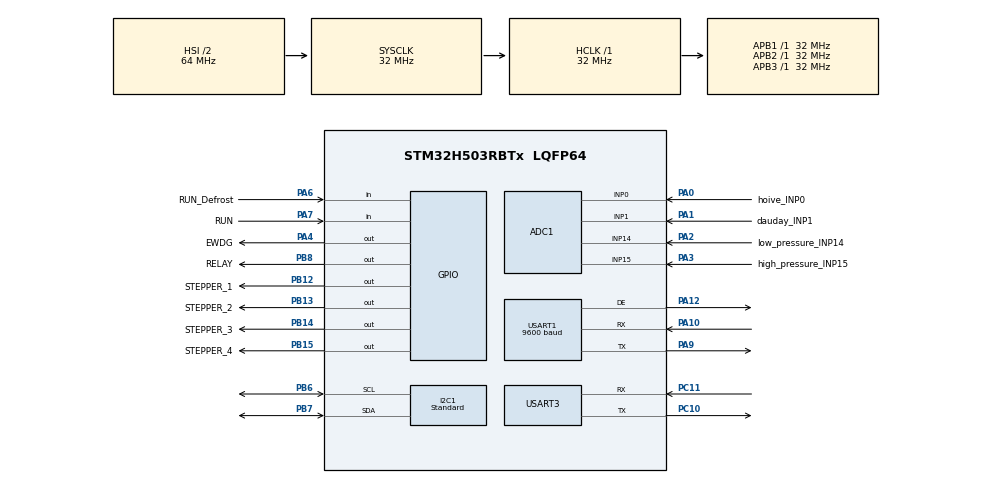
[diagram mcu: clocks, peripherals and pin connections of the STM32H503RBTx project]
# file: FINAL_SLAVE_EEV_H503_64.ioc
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ADC1.Channel-0\#ChannelRegularConversion=ADC_CHANNEL_VREFINT
ADC1.Channel-1\#ChannelRegularConversion=ADC_CHANNEL_0
ADC1.Channel-2\#ChannelRegularConversion=ADC_CHANNEL_1
ADC1.Channel-3\#ChannelRegularConversion=ADC_CHANNEL_14
ADC1.Channel-4\#ChannelRegularConversion=ADC_CHANNEL_15
ADC1.ClockPrescaler=ADC_CLOCK_ASYNC_DIV1
ADC1.MonitoredBy-0\#ChannelRegularConversion=__NULL
ADC1.MonitoredBy-1\#ChannelRegularConversion=__NULL
ADC1.MonitoredBy-2\#ChannelRegularConversion=__NULL
ADC1.MonitoredBy-3\#ChannelRegularConversion=__NULL
ADC1.MonitoredBy-4\#ChannelRegularConversion=__NULL
ADC1.NbrOfConversion=5
ADC1.NbrOfConversionFlag=1
ADC1.OffsetNumber-0\#ChannelRegularConversion=ADC_OFFSET_NONE
ADC1.OffsetNumber-1\#ChannelRegularConversion=ADC_OFFSET_NONE
ADC1.OffsetNumber-2\#ChannelRegularConversion=ADC_OFFSET_NONE
ADC1.OffsetNumber-3\#ChannelRegularConversion=ADC_OFFSET_NONE
ADC1.OffsetNumber-4\#ChannelRegularConversion=ADC_OFFSET_NONE
ADC1.OversamplingMode=ENABLE
ADC1.Rank-0\#ChannelRegularConversion=1
ADC1.Rank-1\#ChannelRegularConversion=2
ADC1.Rank-2\#ChannelRegularConversion=3
ADC1.Rank-3\#ChannelRegularConversion=4
ADC1.Rank-4\#ChannelRegularConversion=5
ADC1.Ratio=ADC_OVERSAMPLING_RATIO_8
ADC1.RightBitShift=ADC_RIGHTBITSHIFT_3
ADC1.SamplingTime-0\#ChannelRegularConversion=ADC_SAMPLETIME_247CYCLES_5
ADC1.SamplingTime-1\#ChannelRegularConversion=ADC_SAMPLETIME_247CYCLES_5
ADC1.SamplingTime-2\#ChannelRegularConversion=ADC_SAMPLETIME_247CYCLES_5
ADC1.SamplingTime-3\#ChannelRegularConversion=ADC_SAMPLETIME_247CYCLES_5
ADC1.SamplingTime-4\#ChannelRegularConversion=ADC_SAMPLETIME_247CYCLES_5
ADC1.master=1
BOOTPATH.BootPathName=LEGACY
BOOTPATH.UserSelectedBootPath=LEGACY
GPDMA1.DESTDATAWIDTH_GPDMACH2=DMA_DEST_DATAWIDTH_HALFWORD
GPDMA1.DESTINC_GPDMACH0=DMA_DINC_INCREMENTED
GPDMA1.DESTINC_GPDMACH2=DMA_DINC_INCREMENTED
GPDMA1.DIRECTION_GPDMACH1=DMA_MEMORY_TO_PERIPH
GPDMA1.IPHANDLE_GPDMACH0-SIMPLEREQUEST_GPDMACH0=__NULL
GPDMA1.IPHANDLE_GPDMACH1-SIMPLEREQUEST_GPDMACH1=__NULL
GPDMA1.IPHANDLE_GPDMACH2-SIMPLEREQUEST_GPDMACH2=__NULL
GPDMA1.REQUEST_GPDMACH0=GPDMA1_REQUEST_USART1_RX
GPDMA1.REQUEST_GPDMACH1=GPDMA1_REQUEST_USART1_TX
GPDMA1.REQUEST_GPDMACH2=GPDMA1_REQUEST_ADC1
GPDMA1.SRCDATAWIDTH_GPDMACH2=DMA_SRC_DATAWIDTH_HALFWORD
GPDMA1.SRCINC_GPDMACH1=DMA_SINC_INCREMENTED
GPDMA1.TRANSFERALLOCATEDPORTDEST_GPDMACH0=DMA_DEST_ALLOCATED_PORT1
GPDMA1.TRANSFERALLOCATEDPORTDEST_GPDMACH1=DMA_DEST_ALLOCATED_PORT1
GPDMA1.TRANSFERALLOCATEDPORTDEST_GPDMACH2=DMA_DEST_ALLOCATED_PORT1
I2C1.I2C_Speed_Mode=I2C_Standard
I2C1.Timing=0x00707CBB
IWDG.Prescaler=IWDG_PRESCALER_64
IWDG.Reload=2999
IWDG.Window=0
Mcu.Family=STM32H5
Mcu.Name=STM32H503RBTx
Mcu.Package=LQFP64
NVIC.GPDMA1_Channel0_IRQn=true\:0\:0\:false\:false\:true\:false\:true\:true
NVIC.GPDMA1_Channel1_IRQn=true\:0\:0\:false\:false\:true\:false\:true\:true
NVIC.GPDMA1_Channel2_IRQn=true\:0\:0\:false\:false\:true\:false\:true\:true
NVIC.PriorityGroup=NVIC_PRIORITYGROUP_4
NVIC.TIM2_IRQn=true\:0\:0\:false\:false\:true\:true\:true\:true
NVIC.USART1_IRQn=true\:1\:0\:true\:false\:true\:true\:true\:true
PA0.GPIO_Label=hoive_INP0
PA0.Signal=ADCx_INP0
PA1.GPIO_Label=dauday_INP1
PA1.Signal=ADCx_INP1
PA10.Mode=Asynchronous
PA10.Signal=USART1_RX
PA12.Mode=Hardware Flow Control (RS485)
PA12.Signal=USART1_DE
PA2.GPIO_Label=low_pressure_INP14
PA2.Signal=ADCx_INP14
PA3.GPIO_Label=high_pressure_INP15
PA3.Signal=ADCx_INP15
PA4.GPIO_Label=EWDG
PA4.Signal=GPIO_Output
PA6.GPIO_Label=RUN_Defrost
PA6.Signal=GPIO_Input
PA7.GPIO_Label=RUN
PA7.Signal=GPIO_Input
PA9.Mode=Asynchronous
PA9.Signal=USART1_TX
PB12.GPIO_Label=STEPPER_1
PB12.PinState=GPIO_PIN_SET
PB12.Signal=GPIO_Output
PB13.GPIO_Label=STEPPER_2
PB13.PinState=GPIO_PIN_SET
PB13.Signal=GPIO_Output
PB14.GPIO_Label=STEPPER_3
PB14.PinState=GPIO_PIN_SET
PB14.Signal=GPIO_Output
PB15.GPIO_Label=STEPPER_4
PB15.PinState=GPIO_PIN_SET
PB15.Signal=GPIO_Output
PB6.Mode=I2C
PB6.Signal=I2C1_SCL
PB7.Mode=I2C
PB7.Signal=I2C1_SDA
PB8.GPIO_Label=RELAY
PB8.PinState=GPIO_PIN_SET
PB8.Signal=GPIO_Output
PC10.Mode=Asynchronous
PC10.Signal=USART3_TX
PC11.Mode=Asynchronous
PC11.Signal=USART3_RX
ProjectManager.HeapSize=0x200
ProjectManager.StackSize=0x400
ProjectManager.TargetToolchain=STM32CubeIDE
RCC.ADCFreq_Value=32000000
RCC.AHBFreq_Value=32000000
RCC.APB1Freq_Value=32000000
RCC.APB1TimFreq_Value=32000000
RCC.APB2Freq_Value=32000000
RCC.APB2TimFreq_Value=32000000
RCC.APB3Freq_Value=32000000
RCC.CSI_VALUE=4000000
RCC.CortexFreq_Value=32000000
RCC.EPOD_VALUE=4000000
RCC.HCLKFreq_Value=32000000
RCC.HSE_VALUE=25000000
RCC.HSI48_VALUE=48000000
RCC.HSI_VALUE=64000000
RCC.LSE_VALUE=32768
RCC.LSIRC_VALUE=32000
RCC.SYSCLKFreq_VALUE=32000000
RCC.USBFreq_Value=48000000
RCC.VCOOutputFreq_Value=516000000
SH.ADCx_INP0.0=ADC1_INP0,IN0-Single-Ended
SH.ADCx_INP1.0=ADC1_INP1,IN1-Single-Ended
SH.ADCx_INP14.0=ADC1_INP14,IN14-Single-Ended
SH.ADCx_INP15.0=ADC1_INP15,IN15-Single-Ended
TIM2.PeriodNoDither=1279
TIM2.Prescaler=999
USART1.BaudRate=9600
USART1.VirtualMode-Asynchronous=VM_ASYNC
USART1.VirtualMode-Hardware\ Flow\ Control\ (RS485)=VM_ASYNC
USART3.VirtualMode-Asynchronous=VM_ASYNC
VP_ADC1_Vref_Input.Mode=IN-Vrefint
VP_BOOTPATH_VS_BOOTPATH.Mode=BP_Activate
VP_CORTEX_M33_NS_VS_Hclk.Mode=Hclk_Mode
VP_GPDMA1_VS_GPDMACH0.Mode=SIMPLEREQUEST_GPDMACH0
VP_GPDMA1_VS_GPDMACH1.Mode=SIMPLEREQUEST_GPDMACH1
VP_GPDMA1_VS_GPDMACH2.Mode=SIMPLEREQUEST_GPDMACH2
VP_IWDG_VS_IWDG.Mode=IWDG_Activate
VP_MEMORYMAP_VS_MEMORYMAP.Mode=CurAppReg
VP_PWR_VS_LPOM.Mode=PowerOptimisation
VP_PWR_VS_SECSignals.Mode=Security/Privilege
VP_TIM2_VS_ClockSourceINT.Mode=Internal
board=custom

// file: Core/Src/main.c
/* USER CODE BEGIN Header */
/**
  ******************************************************************************
  * @file           : main.c
  * @brief          : Main program body
  ******************************************************************************
  * @attention
  *
  * Copyright (c) 2025 STMicroelectronics.
  * All rights reserved.
  *
  * This software is licensed under terms that can be found in the LICENSE file
  * in the root directory of this software component.
  * If no LICENSE file comes with this software, it is provided AS-IS.
  *
  ******************************************************************************
  */
/* USER CODE END Header */
#include "main.h"

/* USER CODE BEGIN Includes */
#include "stdio.h"
#include "stdarg.h"
#include "eeprom_final.h"
#include "Modbus_Slave_Final.h"
#include "Input_parameters.h"
#include "pid_final.h"
#include "stepper_v2.h"
#include "R507_temp_pressure.h"
/* USER CODE END Includes */

ADC_HandleTypeDef hadc1;
DMA_HandleTypeDef handle_GPDMA1_Channel2;

I2C_HandleTypeDef hi2c1;

IWDG_HandleTypeDef hiwdg;

TIM_HandleTypeDef htim2;

UART_HandleTypeDef huart1;
UART_HandleTypeDef huart3;
DMA_HandleTypeDef handle_GPDMA1_Channel1;
DMA_HandleTypeDef handle_GPDMA1_Channel0;

/* USER CODE BEGIN PV */
ModbusHandle modbus_slave;
EEPROM_Handle_t hEEPROM_final;
PID_TypeDef pid;
Stepper motor;
/* USER CODE END PV */

void SystemClock_Config(void);
static void MX_GPIO_Init(void);
static void MX_GPDMA1_Init(void);
static void MX_USART1_UART_Init(void);
static void MX_ADC1_Init(void);
static void MX_I2C1_Init(void);
static void MX_IWDG_Init(void);
static void MX_USART3_UART_Init(void);
static void MX_TIM2_Init(void);

/* USER CODE BEGIN 0 */

// Biến theo dõi tình trạng hoạt động của van tiết lưu
volatile int16_t step_position = 0;
volatile float percent_step = 0;
volatile uint8_t state_motor_step;
volatile uint32_t last_time_step;

// Biến tính toán PID cho số bước điều khiển van tiết lưu
volatile uint8_t count = 0;
volatile float output_pid = 0.0f;
volatile int16_t stepp_count = 0;
#define BUFFER_SIZE 64
volatile int16_t stepp_buffer[BUFFER_SIZE];  // Mảng lưu trữ dữ liệu
volatile uint8_t buffer_index = 0;           // Chỉ mục cho mảng

/*================================================ Hàm Log dữ liệu hoạt động của chương trình =======================================*/
void printLOGDATA(const char *fmt, ...) {
    char temp[128];
    va_list args;
    va_start(args, fmt);
    int len = vsnprintf(temp, sizeof(temp), fmt, args);
    va_end(args);

    if (len > 0) {
        // Đảm bảo độ dài không vượt quá giới hạn
        if (len > sizeof(temp)) len = sizeof(temp);
        HAL_UART_Transmit(&huart3, (uint8_t *)temp, len, 60);
    }
}
void I2C1_Reinit(void){
	MX_I2C1_Init();
}
/*================================================ Hàm Log dữ liệu hoạt động của chương trình =======================================*/

/*================================================ Hàm tính toán độ quá nhiệt =======================================*/
volatile float Saturation_temperature;
volatile float delta_temperatute;
void superheat_value(){
	Saturation_temperature = R507_GetTemperature(pressure_sensors.low_pressure_sensor);
	delta_temperatute = temperature_sensors.hoi_ve - Saturation_temperature;
}
/*================================================ Hàm tính toán độ quá nhiệt =======================================*/

/*================================================ Hàm tính toán để quyết định số bước điều khiển van tiết lưu =======================================*/
static int16_t find_max_value() {
	    if (BUFFER_SIZE <= 0) return 0;
	    int16_t max_abs_value = stepp_buffer[0];
	    int16_t abs_max = max_abs_value < 0 ? -max_abs_value : max_abs_value;
	        uint8_t i = 1;
	        for (; i + 3 < BUFFER_SIZE; i += 4) {
	            // Xử lý 4 phần tử mỗi lần
	            int16_t current0 = stepp_buffer[i];
	            int16_t abs0 = current0 < 0 ? -current0 : current0;
	            int update0 = (abs0 > abs_max) || (abs0 == abs_max && current0 > max_abs_value);
	            max_abs_value = update0 ? current0 : max_abs_value;
	            abs_max = update0 ? abs0 : abs_max;

	            int16_t current1 = stepp_buffer[i + 1];
	            int16_t abs1 = current1 < 0 ? -current1 : current1;
	            int update1 = (abs1 > abs_max) || (abs1 == abs_max && current1 > max_abs_value);
	            max_abs_value = update1 ? current1 : max_abs_value;
	            abs_max = update1 ? abs1 : abs_max;

	            int16_t current2 = stepp_buffer[i + 2];
	            int16_t abs2 = current2 < 0 ? -current2 : current2;
	            int update2 = (abs2 > abs_max) || (abs2 == abs_max && current2 > max_abs_value);
	            max_abs_value = update2 ? current2 : max_abs_value;
	            abs_max = update2 ? abs2 : abs_max;

	            int16_t current3 = stepp_buffer[i + 3];
	            int16_t abs3 = current3 < 0 ? -current3 : current3;
	            int update3 = (abs3 > abs_max) || (abs3 == abs_max && current3 > max_abs_value);
	            max_abs_value = update3 ? current3 : max_abs_value;
	            abs_max = update3 ? abs3 : abs_max;
	        }
	        return max_abs_value;
}
void control_stepper(){
	uint32_t current_time = HAL_GetTick();
	float error = fabsf(pid.setpoint - delta_temperatute);
	static const float k = 0.6f;
	static const uint32_t time_min = 500, time_max = 10000;
	uint32_t delay_time = time_min + (uint32_t)((time_max - time_min) / (1.0f + k * error));
	if(((uint32_t)(current_time - last_time_step) >= delay_time) && Stepper_IsMoving(&motor) == 0){
		int16_t output_final = find_max_value();
		Stepper_Move(&motor, output_final);
		volatile int16_t *ptr = stepp_buffer;
		for (int i = 0; i < BUFFER_SIZE; i += 8) {
		    *ptr++ = 0; *ptr++ = 0; *ptr++ = 0; *ptr++ = 0;
		    *ptr++ = 0; *ptr++ = 0; *ptr++ = 0; *ptr++ = 0;
		}
	}
}
/*================================================ Hàm tính toán để quyết định số bước điều khiển van tiết lưu =======================================*/

/*================================================ Hàm tính toán để quyết định thay đổi superheat setpoint =======================================*/
void convert_setpoint(){
    static const struct {
        float pressure_threshold;
        float target_temp_diff;
    } lookup_table[] = {
//        { 23.0f, 5.0f },
//        { 20.0f, 7.0f },
//        { 17.0f, 9.0f },
//        { 15.0f, 11.0f},
//        { 0.0f,  13.0f}
        { 23.0f, 3.0f},
        { 20.0f, 5.0f},
        { 17.0f, 7.0f},
        { 15.0f, 9.0f},
        { 0.0f,  11.0f}
    };
    static float last_setpoint = -1;  // Lưu giá trị cũ
    float new_setpoint = pid.setpoint;
    static uint8_t waiting = 0;
    static uint32_t change_time = 0;
    GPIO_PinState state_pin_relay = HAL_GPIO_ReadPin(RELAY_GPIO_Port, RELAY_Pin);
    static uint8_t last_state = 1;
    static uint8_t is_waiting = 0;
    static uint32_t time_changed = 0;
    // Lấy giá trị áp suất
    float high_pressure = pressure_sensors.high_pressure_sensor;

    if(last_state == 0 && state_pin_relay == 1){
    	time_changed = HAL_GetTick();
    	is_waiting = 1;
    }
    last_state = state_pin_relay;

     // Duyệt bảng để tìm giá trị TARGET_TEMP_DIFF phù hợp
    if(state_pin_relay == 1){
    	 uint32_t current_time = HAL_GetTick();
    	 if(!is_waiting || ((uint32_t)(current_time - time_changed) >= 16000)){
             is_waiting = 0;
			 for (int i = 0; i < sizeof(lookup_table) / sizeof(lookup_table[0]); i++) {
				 if (high_pressure >= lookup_table[i].pressure_threshold) {
						 new_setpoint = lookup_table[i].target_temp_diff;
						 break;  // Thoát kh�?i vòng lặp sau khi tìm thấy ngưỡng phù hợp
				 }
			 }
		}
    }
     if(new_setpoint != last_setpoint){
    	 if(!waiting){
    		 change_time = HAL_GetTick();
    		 waiting = 1;
    	 }
    	 uint32_t curent_time_2 = HAL_GetTick();
    	 if((uint32_t)(curent_time_2 - change_time) >= 8000){
    		 pid.setpoint = new_setpoint;
    		 last_setpoint = new_setpoint;
    		 waiting = 0;
    	 }
     }else{
    	 waiting = 0;
     }
}
/*================================================ Hàm tính toán để quyết định thay đổi superheat setpoint =======================================*/

/*================================================ Hàm chính điều khiển van tiết lưu =======================================*/
// �?ịnh nghĩa các trạng thái
typedef enum {
    STATE_INIT,         // Trạng thái khởi tạo ban đầu
    STATE_CLOSING,      // �?óng van (500 bước)
    STATE_OPENING,      // Mở van (200 bước)
    STATE_CONTROL_EEV,      // Ch�? 15s
    STATE_IDLE_EEV
} SystemState;
// Biến toàn cục
SystemState current_state_eev = STATE_INIT;
uint32_t timer = 0;
uint8_t init_done = 0;      // C�? đánh dấu đã hoàn thành khởi tạo
void control_EEV(){
	static uint8_t check_run_defrost = 0;
//	static GPIO_PinState pin_state_run = GPIO_PIN_RESET;
//	static GPIO_PinState pin_state_run_defrost = GPIO_PIN_RESET;
	GPIO_PinState pin_state_run = HAL_GPIO_ReadPin(RUN_GPIO_Port, RUN_Pin);
	GPIO_PinState pin_state_run_defrost = HAL_GPIO_ReadPin(RUN_Defrost_GPIO_Port, RUN_Defrost_Pin);
//	if(pin_state_run_check == GPIO_PIN_SET || pin_state_run_defrost_check == GPIO_PIN_SET){
//		if((uint32_t)(HAL_GetTick() - ))
//	}

	switch(pin_state_run_defrost){
	case GPIO_PIN_SET:
		if(check_run_defrost == 0 && !Stepper_IsMoving(&motor)){
			check_run_defrost = 1;
//        	step_position = 0;
//			percent_step = 0.0f;
//			Stepper_Move(&motor, -500);
			step_position = (step_position - 80 > 0) ? step_position - 80 : 0;
        	percent_step = (step_position/500.0f)*100.0f;
            Stepper_Move(&motor, -(500-step_position));
            current_state_eev = STATE_OPENING;
		}
		break;
	case GPIO_PIN_RESET:
		check_run_defrost = 0;
		   // Xử lý theo trạng thái hiện tại
		    switch(current_state_eev) {
		        case STATE_INIT:
		            // Luôn bắt đầu bằng việc đóng 500 bước khi khởi tạo
		            if(!Stepper_IsMoving(&motor)) {
		            	step_position = 500;
		            	percent_step = 100.0f;
		                Stepper_Move(&motor, 500);
//		            	step_position = 0;
//		            	percent_step = 0.0f;
//		                Stepper_Move(&motor, -500);
		                current_state_eev = STATE_CLOSING;
		                init_done = 0;  // �?ánh dấu chưa hoàn thành khởi tạo
		            }
		            break;

		        case STATE_CLOSING:
		            if(!Stepper_IsMoving(&motor)) {
		                if(!init_done) {
		                    // Nếu đây là lần đóng đầu tiên (khởi tạo)
		                    init_done = 1;
		                    // Nếu chân input đang ở mức cao, chuyển sang mở
		                    if(pin_state_run == GPIO_PIN_SET) {
		                        Stepper_Move(&motor, -250);
		                        current_state_eev = STATE_OPENING;
		                    } else {
		                    	current_state_eev = STATE_IDLE_EEV;  // Ch�? mức cao
		                    }
		                } else {
		                    // Nếu đây là lần đóng trong quá trình hoạt động bình thư�?ng
		                	current_state_eev = STATE_IDLE_EEV;
		                }
		            }
		            break;

		        case STATE_IDLE_EEV:
		        	if(!Stepper_IsMoving(&motor)){
		        		if(pin_state_run == GPIO_PIN_SET){
		        		    Stepper_Move(&motor, -250);
		        		    current_state_eev = STATE_OPENING;
		        		}
		        	}
		            break;

		        case STATE_OPENING:
		            if(!Stepper_IsMoving(&motor)) {
		                // �?ã mở xong, bắt đầu ch�? 15s
		                timer = HAL_GetTick();
		                current_state_eev = STATE_CONTROL_EEV;
		            }
		            break;

		        case STATE_CONTROL_EEV:
		            if(HAL_GetTick() - timer >= 8000) {
		                control_stepper();
		            }
		            // Nếu trong quá trình ch�? mà chân input chuyển thành mức thấp
		            if(pin_state_run == GPIO_PIN_RESET) {
		            	step_position = (step_position + 80 < 500) ? step_position + 80 : 500;
		            	percent_step = (step_position/500.0f)*100.0f;
		                Stepper_Move(&motor, step_position);
		                current_state_eev = STATE_CLOSING;
		            }
		            break;
		    }
	  break;
	}
}
/*================================================ Hàm chính điều khiển van tiết lưu =======================================*/

/*================================================ Hàm điều khiển dịch phụ làm mát đầu đẩy =======================================*/
int16_t nhiet_do_bat_lam_mat = 85;
int16_t nhiet_do_tat_lam_mat = 75;
void lam_mat_dau_day(){
	if(temperature_sensors.dau_day >= (float)(nhiet_do_bat_lam_mat)){
		HAL_GPIO_WritePin(RELAY_GPIO_Port, RELAY_Pin, GPIO_PIN_RESET);
	}else if(temperature_sensors.dau_day <= (float)(nhiet_do_tat_lam_mat)){
		HAL_GPIO_WritePin(RELAY_GPIO_Port, RELAY_Pin, GPIO_PIN_SET);
	}
}
/*================================================ Hàm điều khiển dịch phụ làm mát đầu đẩy =======================================*/

void EWDG_Refresh(){
	HAL_GPIO_TogglePin(EWDG_GPIO_Port, EWDG_Pin);
}

/*================================================ Hàm xử lý dữ liệu giao tiếp ngoại vi =======================================*/
void modbus_communication(){
	modbus_slave.holdingRegs[0] = (uint16_t)(pressure_sensors.high_pressure_sensor*100.0f);
	modbus_slave.holdingRegs[1] = (uint16_t)(pressure_sensors.low_pressure_sensor*100.0f);
	modbus_slave.holdingRegs[2] = (int16_t)(temperature_sensors.dau_day*10.0f);
	modbus_slave.holdingRegs[3] = (int16_t)(temperature_sensors.hoi_ve*10.0f);
	modbus_slave.holdingRegs[4] = (int16_t)(Saturation_temperature*10.0f);
	modbus_slave.holdingRegs[5] = (int16_t)(delta_temperatute*10.0f);
	modbus_slave.holdingRegs[6] = (uint16_t)(pid.setpoint*10.0f);
	modbus_slave.holdingRegs[7] = (uint16_t)(percent_step*10.0f);
	modbus_slave.holdingRegs[8] = (uint16_t)(current_state_eev);
	modbus_slave.holdingRegs[9] = (uint16_t)(vref*100.0f);
//	modbus_slave.holdingRegs[8] = (uint16_t)(HAL_GPIO_ReadPin(RUN_GPIO_Port, RUN_Pin));
//	modbus_slave.holdingRegs[9] = (uint16_t)(HAL_GPIO_ReadPin(RUN_Defrost_GPIO_Port, RUN_Defrost_Pin));
}

typedef struct {
    int16_t* value_ptr;     // Con trỏ trực tiếp đến biến int16_t trong RAM
    uint16_t eeprom_addr;   // Địa chỉ EEPROM
} param_config_int16_t;
static void write_param_to_eeprom(
                                int16_t* current_ram_value_ptr,
                                uint16_t new_modbus_value, // Dữ liệu Modbus gốc là uint16_t
                                uint16_t addr) {
    if (current_ram_value_ptr == NULL) {
        return;
    }
    int16_t new_typed_value = (int16_t)new_modbus_value; // Ép kiểu giá trị Modbus sang int16_t

    if (*current_ram_value_ptr != new_typed_value) {
        *current_ram_value_ptr = new_typed_value;
        EEPROM_WriteInt16(&hEEPROM_final, addr, new_typed_value);
    }
}
void Data_Write(ModbusHandle* modbus){
	if(modbus_slave.emergency_write_from_master == 1){
		param_config_int16_t params[] = {
	      {&nhiet_do_bat_lam_mat, 0},    // Chỉ cần thêm &
	      {&nhiet_do_tat_lam_mat, 2},     // để lấy địa chỉ của biến
	   };
	  for (uint8_t i = 0; i < sizeof(params) / sizeof(params[0]); i++) {
		   write_param_to_eeprom(params[i].value_ptr, modbus_slave.holdingRegs_emergency_cpy[i], params[i].eeprom_addr);
	  }
	  modbus_slave.emergency_write_from_master = 0;
	}
}
/*================================================ Hàm xử lý dữ liệu giao tiếp ngoại vi =======================================*/

/*==================================================================================================*/
/* Restart system UART(Modbus) if error occurs */
static void Restart_UART1_DMA_Modbus_Simple(void)
{
    HAL_UART_DMAStop(&huart1);
    HAL_UART_Abort(&huart1);

    HAL_UART_DeInit(&huart1);
    HAL_Delay(10);

    MX_USART1_UART_Init();
    __HAL_UART_CLEAR_PEFLAG(&huart1);
    __HAL_UART_CLEAR_FEFLAG(&huart1);
    __HAL_UART_CLEAR_NEFLAG(&huart1);
    __HAL_UART_CLEAR_OREFLAG(&huart1);
    __HAL_UART_CLEAR_IDLEFLAG(&huart1);
    Modbus_ReInit(&modbus_slave, &huart1, USART1_IRQn);
}
volatile uint32_t lastvalidIDTime = 0;
void reset_UART_DMA(){
	  if((uint32_t)(HAL_GetTick() - lastvalidIDTime) >= 10000){
		 printLOGDATA("[WARN] [UART] Modbus timeout detected. Attempting UART DMA restart...\r\n");
		 Restart_UART1_DMA_Modbus_Simple();
		 lastvalidIDTime = HAL_GetTick();
  }
}
/*==================================================================================================*/

/*================================================ ADC DMA =================================================*/
volatile uint16_t adc_buffer[5];
volatile uint8_t isADCFinish = 0;
volatile uint32_t time_refresh_adc_dma = 0;
void HAL_ADC_ConvCpltCallback(ADC_HandleTypeDef* hadc) {
	isADCFinish = 1;
	time_refresh_adc_dma = HAL_GetTick();
}
/*==================================================================================================*/
/* Restart system ADC if error occurs */
static void Restart_ADC1_DMA_Simple(void)
{
    HAL_ADC_Stop_DMA(&hadc1);
    HAL_DMA_Abort(&handle_GPDMA1_Channel2);

    HAL_ADC_DeInit(&hadc1);
    HAL_Delay(10); // Đợi một chút cho ổn định

    MX_ADC1_Init();
    HAL_ADCEx_Calibration_Start(&hadc1,ADC_SINGLE_ENDED);
    __HAL_ADC_CLEAR_FLAG(&hadc1, ADC_FLAG_EOS | ADC_FLAG_EOC | ADC_FLAG_OVR | ADC_FLAG_AWD1 | ADC_FLAG_AWD2 | ADC_FLAG_AWD3 | ADC_FLAG_JEOS | ADC_FLAG_JEOC);

    isADCFinish = 0;
    HAL_ADC_Start_DMA(&hadc1, (uint32_t*)adc_buffer, 5);
}
void Reset_ADC_DMA(){
     uint32_t current_time =  HAL_GetTick();
     if((uint32_t)(current_time - time_refresh_adc_dma) >= 6000){
    	 printLOGDATA("[WARN] [ADC] ADC timeout detected. Attempting ADC DMA restart...\r\n");
    	 Restart_ADC1_DMA_Simple();
   		 time_refresh_adc_dma = HAL_GetTick();
     }
}
/*================================================ ADC DMA =================================================*/
float voltage_hoive;
float voltage_dauday;
float voltage_pl;
float voltage_ph;
// Hàm để lấy và gửi các cờ reset
void GetAndSendResetFlags() {
	printLOGDATA("\r\n--- Nguyen nhan Reset MCU ---\r\n");

    // Kiểm tra từng cờ reset
    if (__HAL_RCC_GET_FLAG(RCC_FLAG_LPWRRST) != RESET) {
    	printLOGDATA("Nguyen nhan: Reset do Quản lý Năng lượng thấp (LPWRRSTF)\r\n");
    }
    if (__HAL_RCC_GET_FLAG(RCC_FLAG_WWDGRST) != RESET) {
    	printLOGDATA("Nguyen nhan: Reset do Watchdog cửa sổ (WWDGRSTF)\r\n");
    }
    if (__HAL_RCC_GET_FLAG(RCC_FLAG_IWDGRST) != RESET) {
    	printLOGDATA("Nguyen nhan: Reset do Watchdog độc lập (IWDGRSTF)\r\n");
    }
    if (__HAL_RCC_GET_FLAG(RCC_FLAG_SFTRST) != RESET) {
    	printLOGDATA("Nguyen nhan: Reset do Phần mềm (SFTRSTF)\r\n");
    }
    if (__HAL_RCC_GET_FLAG(RCC_FLAG_PINRST) != RESET) {
    	printLOGDATA("Nguyen nhan: Reset do Chân ngoài (PINRSTF)\r\n");
    }
    if (__HAL_RCC_GET_FLAG(RCC_FLAG_BORRST) != RESET) {
    	printLOGDATA("Nguyen nhan: Reset do tụt áp nguồn (BORRSTF)\r\n");
    }
    // Bạn có thể thêm các kiểm tra khác cho các cờ như HSERDYF, HSIRDYF, LSERDYF, LSIRDYF, PLLRDYF nếu cần,
    // mặc dù chúng thường chỉ ra sự sẵn sàng của bộ dao động chứ không phải nguyên nhân reset.

    // Nếu không có cờ cụ thể nào được đặt (ví dụ: bật nguồn lần đầu sau khi nạp firmware)
    if ( ( __HAL_RCC_GET_FLAG(RCC_FLAG_LPWRRST) == RESET) &&
         ( __HAL_RCC_GET_FLAG(RCC_FLAG_WWDGRST) == RESET) &&
         ( __HAL_RCC_GET_FLAG(RCC_FLAG_IWDGRST) == RESET) &&
         ( __HAL_RCC_GET_FLAG(RCC_FLAG_SFTRST) == RESET) &&
         ( __HAL_RCC_GET_FLAG(RCC_FLAG_PINRST) == RESET) &&
         ( __HAL_RCC_GET_FLAG(RCC_FLAG_BORRST) == RESET))
    {
    	printLOGDATA("Nguyen nhan: Khong ro / Bat nguon lan dau (Khong co co nao duoc dat cu the)\r\n");
    }

    printLOGDATA("--------------------------\r\n\r\n");

    // Xóa tất cả các cờ reset để phát hiện reset lần sau
    __HAL_RCC_CLEAR_RESET_FLAGS();
}
/* USER CODE END 0 */

int main(void)
{

  /* MCU Configuration--------------------------------------------------------*/

  /* Reset of all peripherals, Initializes the Flash interface and the Systick. */
  HAL_Init();

  /* Configure the system clock */
  SystemClock_Config();

  /* Initialize all configured peripherals */
  MX_GPIO_Init();
  MX_GPDMA1_Init();
  MX_USART1_UART_Init();
  MX_ADC1_Init();
  MX_I2C1_Init();
  MX_IWDG_Init();
  MX_USART3_UART_Init();
  MX_TIM2_Init();
  /* USER CODE BEGIN 2 */
  uint32_t start_time = HAL_GetTick();
  while((uint32_t)(HAL_GetTick() - start_time) <= 600){
	  EWDG_Refresh();
  }

  EEPROM_Init(&hEEPROM_final, &hi2c1, EEPROM_DEFAULT_7BIT_ADDR);
  EEPROM_ReadInt16(&hEEPROM_final, 0, &nhiet_do_bat_lam_mat);
  EEPROM_ReadInt16(&hEEPROM_final, 2, &nhiet_do_tat_lam_mat);

  StepperPins pins = {
  		  .PORT_IN1 = STEPPER_1_GPIO_Port, .PIN_IN1 = STEPPER_1_Pin,
  		  .PORT_IN2 = STEPPER_2_GPIO_Port, .PIN_IN2 = STEPPER_2_Pin,
  		  .PORT_IN3 = STEPPER_3_GPIO_Port, .PIN_IN3 = STEPPER_3_Pin,
  		  .PORT_IN4 = STEPPER_4_GPIO_Port, .PIN_IN4 = STEPPER_4_Pin
  };
  Stepper_Init(&motor, pins);
  PID_Init(&pid, 0.03f, 0.12f, 11.0f);

//  ADC_Init(&hadc1);
  Filter_Input_Init();
  HAL_ADCEx_Calibration_Start(&hadc1, ADC_SINGLE_ENDED);
  HAL_ADC_Start_DMA(&hadc1, (uint32_t*)adc_buffer, 5);

  Modbus_Init(&modbus_slave, &huart1, USART1_IRQn);
  HAL_TIM_Base_Start_IT(&htim2);

  GetAndSendResetFlags();
  /* USER CODE END 2 */

  /* Infinite loop */
  while (1)
  {

    /* USER CODE BEGIN 3 */
	  if(isADCFinish == 1){
		isADCFinish = 0;
		Calcular_Input(&hadc1);
		HAL_ADC_Start_DMA(&hadc1,(uint32_t*)adc_buffer, 5);
	  }
//	  Calcular_Input(&hadc1);
//	  voltage_hoive = adc_temperature_sensors.ADC_hoi_ve*vref/4095.0f;
//	  voltage_dauday = adc_temperature_sensors.ADC_dau_day*vref/4095.0f;
//	  voltage_pl = adc_pressure_sensors.ADC_low_pressure*vref/4095.0f;
//	  voltage_ph = adc_pressure_sensors.ADC_high_pressure*vref/4095.0f;

	  superheat_value();
	  lam_mat_dau_day();
	  convert_setpoint();
	  control_EEV();

	  modbus_communication();
	  Data_Write(&modbus_slave);

	  reset_UART_DMA();
	  Reset_ADC_DMA();
	  HAL_IWDG_Refresh(&hiwdg);
	  EWDG_Refresh();
  }
  /* USER CODE END 3 */
}

void SystemClock_Config(void)
{
  RCC_OscInitTypeDef RCC_OscInitStruct = {0};
  RCC_ClkInitTypeDef RCC_ClkInitStruct = {0};

  /** Configure the main internal regulator output voltage
  */
  __HAL_PWR_VOLTAGESCALING_CONFIG(PWR_REGULATOR_VOLTAGE_SCALE3);

  while(!__HAL_PWR_GET_FLAG(PWR_FLAG_VOSRDY)) {}

  /** Initializes the RCC Oscillators according to the specified parameters
  * in the RCC_OscInitTypeDef structure.
  */
  RCC_OscInitStruct.OscillatorType = RCC_OSCILLATORTYPE_HSI|RCC_OSCILLATORTYPE_LSI;
  RCC_OscInitStruct.HSIState = RCC_HSI_ON;
  RCC_OscInitStruct.HSIDiv = RCC_HSI_DIV2;
  RCC_OscInitStruct.HSICalibrationValue = RCC_HSICALIBRATION_DEFAULT;
  RCC_OscInitStruct.LSIState = RCC_LSI_ON;
  RCC_OscInitStruct.PLL.PLLState = RCC_PLL_NONE;
  if (HAL_RCC_OscConfig(&RCC_OscInitStruct) != HAL_OK)
  {
    Error_Handler();
  }

  /** Initializes the CPU, AHB and APB buses clocks
  */
  RCC_ClkInitStruct.ClockType = RCC_CLOCKTYPE_HCLK|RCC_CLOCKTYPE_SYSCLK
                              |RCC_CLOCKTYPE_PCLK1|RCC_CLOCKTYPE_PCLK2
                              |RCC_CLOCKTYPE_PCLK3;
  RCC_ClkInitStruct.SYSCLKSource = RCC_SYSCLKSOURCE_HSI;
  RCC_ClkInitStruct.AHBCLKDivider = RCC_SYSCLK_DIV1;
  RCC_ClkInitStruct.APB1CLKDivider = RCC_HCLK_DIV1;
  RCC_ClkInitStruct.APB2CLKDivider = RCC_HCLK_DIV1;
  RCC_ClkInitStruct.APB3CLKDivider = RCC_HCLK_DIV1;

  if (HAL_RCC_ClockConfig(&RCC_ClkInitStruct, FLASH_LATENCY_1) != HAL_OK)
  {
    Error_Handler();
  }

  /** Configure the programming delay
  */
  __HAL_FLASH_SET_PROGRAM_DELAY(FLASH_PROGRAMMING_DELAY_0);
}

static void MX_ADC1_Init(void)
{

  ADC_ChannelConfTypeDef sConfig = {0};

  /** Common config
  */
  hadc1.Instance = ADC1;
  hadc1.Init.ClockPrescaler = ADC_CLOCK_ASYNC_DIV1;
  hadc1.Init.Resolution = ADC_RESOLUTION_12B;
  hadc1.Init.DataAlign = ADC_DATAALIGN_RIGHT;
  hadc1.Init.ScanConvMode = ADC_SCAN_ENABLE;
  hadc1.Init.EOCSelection = ADC_EOC_SINGLE_CONV;
  hadc1.Init.LowPowerAutoWait = DISABLE;
  hadc1.Init.ContinuousConvMode = DISABLE;
  hadc1.Init.NbrOfConversion = 5;
  hadc1.Init.DiscontinuousConvMode = DISABLE;
  hadc1.Init.ExternalTrigConv = ADC_SOFTWARE_START;
  hadc1.Init.ExternalTrigConvEdge = ADC_EXTERNALTRIGCONVEDGE_NONE;
  hadc1.Init.DMAContinuousRequests = DISABLE;
  hadc1.Init.SamplingMode = ADC_SAMPLING_MODE_NORMAL;
  hadc1.Init.Overrun = ADC_OVR_DATA_PRESERVED;
  hadc1.Init.OversamplingMode = ENABLE;
  hadc1.Init.Oversampling.Ratio = ADC_OVERSAMPLING_RATIO_8;
  hadc1.Init.Oversampling.RightBitShift = ADC_RIGHTBITSHIFT_3;
  hadc1.Init.Oversampling.TriggeredMode = ADC_TRIGGEREDMODE_SINGLE_TRIGGER;
  hadc1.Init.Oversampling.OversamplingStopReset = ADC_REGOVERSAMPLING_CONTINUED_MODE;
  if (HAL_ADC_Init(&hadc1) != HAL_OK)
  {
    Error_Handler();
  }

  /** Configure Regular Channel
  */
  sConfig.Channel = ADC_CHANNEL_VREFINT;
  sConfig.Rank = ADC_REGULAR_RANK_1;
  sConfig.SamplingTime = ADC_SAMPLETIME_247CYCLES_5;
  sConfig.SingleDiff = ADC_SINGLE_ENDED;
  sConfig.OffsetNumber = ADC_OFFSET_NONE;
  sConfig.Offset = 0;
  if (HAL_ADC_ConfigChannel(&hadc1, &sConfig) != HAL_OK)
  {
    Error_Handler();
  }

  /** Configure Regular Channel
  */
  sConfig.Channel = ADC_CHANNEL_0;
  sConfig.Rank = ADC_REGULAR_RANK_2;
  if (HAL_ADC_ConfigChannel(&hadc1, &sConfig) != HAL_OK)
  {
    Error_Handler();
  }

  /** Configure Regular Channel
  */
  sConfig.Channel = ADC_CHANNEL_1;
  sConfig.Rank = ADC_REGULAR_RANK_3;
  if (HAL_ADC_ConfigChannel(&hadc1, &sConfig) != HAL_OK)
  {
    Error_Handler();
  }

  /** Configure Regular Channel
  */
  sConfig.Channel = ADC_CHANNEL_14;
  sConfig.Rank = ADC_REGULAR_RANK_4;
  if (HAL_ADC_ConfigChannel(&hadc1, &sConfig) != HAL_OK)
  {
    Error_Handler();
  }

  /** Configure Regular Channel
  */
  sConfig.Channel = ADC_CHANNEL_15;
  sConfig.Rank = ADC_REGULAR_RANK_5;
  if (HAL_ADC_ConfigChannel(&hadc1, &sConfig) != HAL_OK)
  {
    Error_Handler();
  }

}

static void MX_GPDMA1_Init(void)
{

  /* Peripheral clock enable */
  __HAL_RCC_GPDMA1_CLK_ENABLE();

  /* GPDMA1 interrupt Init */
    HAL_NVIC_SetPriority(GPDMA1_Channel0_IRQn, 0, 0);
    HAL_NVIC_EnableIRQ(GPDMA1_Channel0_IRQn);
    HAL_NVIC_SetPriority(GPDMA1_Channel1_IRQn, 0, 0);
    HAL_NVIC_EnableIRQ(GPDMA1_Channel1_IRQn);
    HAL_NVIC_SetPriority(GPDMA1_Channel2_IRQn, 0, 0);
    HAL_NVIC_EnableIRQ(GPDMA1_Channel2_IRQn);

}

static void MX_I2C1_Init(void)
{

  hi2c1.Instance = I2C1;
  hi2c1.Init.Timing = 0x00707CBB;
  hi2c1.Init.OwnAddress1 = 0;
  hi2c1.Init.AddressingMode = I2C_ADDRESSINGMODE_7BIT;
  hi2c1.Init.DualAddressMode = I2C_DUALADDRESS_DISABLE;
  hi2c1.Init.OwnAddress2 = 0;
  hi2c1.Init.OwnAddress2Masks = I2C_OA2_NOMASK;
  hi2c1.Init.GeneralCallMode = I2C_GENERALCALL_DISABLE;
  hi2c1.Init.NoStretchMode = I2C_NOSTRETCH_DISABLE;
  if (HAL_I2C_Init(&hi2c1) != HAL_OK)
  {
    Error_Handler();
  }

  /** Configure Analogue filter
  */
  if (HAL_I2CEx_ConfigAnalogFilter(&hi2c1, I2C_ANALOGFILTER_ENABLE) != HAL_OK)
  {
    Error_Handler();
  }

  /** Configure Digital filter
  */
  if (HAL_I2CEx_ConfigDigitalFilter(&hi2c1, 0) != HAL_OK)
  {
    Error_Handler();
  }

}

static void MX_IWDG_Init(void)
{

  hiwdg.Instance = IWDG;
  hiwdg.Init.Prescaler = IWDG_PRESCALER_64;
  hiwdg.Init.Window = 0;
  hiwdg.Init.Reload = 2999;
  hiwdg.Init.EWI = 0;
  if (HAL_IWDG_Init(&hiwdg) != HAL_OK)
  {
    Error_Handler();
  }
  /* USER CODE BEGIN IWDG_Init 2 */
  hiwdg.Init.Window = IWDG_WINDOW_DISABLE;
  if (HAL_IWDG_Init(&hiwdg) != HAL_OK)
  {
    Error_Handler();
  }
  /* USER CODE END IWDG_Init 2 */

}

static void MX_TIM2_Init(void)
{

  TIM_ClockConfigTypeDef sClockSourceConfig = {0};
  TIM_MasterConfigTypeDef sMasterConfig = {0};

  htim2.Instance = TIM2;
  htim2.Init.Prescaler = 999;
  htim2.Init.CounterMode = TIM_COUNTERMODE_UP;
  htim2.Init.Period = 1279;
  htim2.Init.ClockDivision = TIM_CLOCKDIVISION_DIV1;
  htim2.Init.AutoReloadPreload = TIM_AUTORELOAD_PRELOAD_DISABLE;
  if (HAL_TIM_Base_Init(&htim2) != HAL_OK)
  {
    Error_Handler();
  }
  sClockSourceConfig.ClockSource = TIM_CLOCKSOURCE_INTERNAL;
  if (HAL_TIM_ConfigClockSource(&htim2, &sClockSourceConfig) != HAL_OK)
  {
    Error_Handler();
  }
  sMasterConfig.MasterOutputTrigger = TIM_TRGO_RESET;
  sMasterConfig.MasterSlaveMode = TIM_MASTERSLAVEMODE_DISABLE;
  if (HAL_TIMEx_MasterConfigSynchronization(&htim2, &sMasterConfig) != HAL_OK)
  {
    Error_Handler();
  }

}

static void MX_USART1_UART_Init(void)
{

  huart1.Instance = USART1;
  huart1.Init.BaudRate = 9600;
  huart1.Init.WordLength = UART_WORDLENGTH_8B;
  huart1.Init.StopBits = UART_STOPBITS_1;
  huart1.Init.Parity = UART_PARITY_NONE;
  huart1.Init.Mode = UART_MODE_TX_RX;
  huart1.Init.HwFlowCtl = UART_HWCONTROL_NONE;
  huart1.Init.OverSampling = UART_OVERSAMPLING_16;
  huart1.Init.OneBitSampling = UART_ONE_BIT_SAMPLE_DISABLE;
  huart1.Init.ClockPrescaler = UART_PRESCALER_DIV1;
  huart1.AdvancedInit.AdvFeatureInit = UART_ADVFEATURE_NO_INIT;
  if (HAL_RS485Ex_Init(&huart1, UART_DE_POLARITY_HIGH, 0, 0) != HAL_OK)
  {
    Error_Handler();
  }
  if (HAL_UARTEx_SetTxFifoThreshold(&huart1, UART_TXFIFO_THRESHOLD_1_8) != HAL_OK)
  {
    Error_Handler();
  }
  if (HAL_UARTEx_SetRxFifoThreshold(&huart1, UART_RXFIFO_THRESHOLD_1_8) != HAL_OK)
  {
    Error_Handler();
  }
  if (HAL_UARTEx_DisableFifoMode(&huart1) != HAL_OK)
  {
    Error_Handler();
  }

}

static void MX_USART3_UART_Init(void)
{

  huart3.Instance = USART3;
  huart3.Init.BaudRate = 115200;
  huart3.Init.WordLength = UART_WORDLENGTH_8B;
  huart3.Init.StopBits = UART_STOPBITS_1;
  huart3.Init.Parity = UART_PARITY_NONE;
  huart3.Init.Mode = UART_MODE_TX_RX;
  huart3.Init.HwFlowCtl = UART_HWCONTROL_NONE;
  huart3.Init.OverSampling = UART_OVERSAMPLING_16;
  huart3.Init.OneBitSampling = UART_ONE_BIT_SAMPLE_DISABLE;
  huart3.Init.ClockPrescaler = UART_PRESCALER_DIV1;
  huart3.AdvancedInit.AdvFeatureInit = UART_ADVFEATURE_NO_INIT;
  if (HAL_UART_Init(&huart3) != HAL_OK)
  {
    Error_Handler();
  }
  if (HAL_UARTEx_SetTxFifoThreshold(&huart3, UART_TXFIFO_THRESHOLD_1_8) != HAL_OK)
  {
    Error_Handler();
  }
  if (HAL_UARTEx_SetRxFifoThreshold(&huart3, UART_RXFIFO_THRESHOLD_1_8) != HAL_OK)
  {
    Error_Handler();
  }
  if (HAL_UARTEx_DisableFifoMode(&huart3) != HAL_OK)
  {
    Error_Handler();
  }

}

static void MX_GPIO_Init(void)
{
  GPIO_InitTypeDef GPIO_InitStruct = {0};

  /* GPIO Ports Clock Enable */
  __HAL_RCC_GPIOA_CLK_ENABLE();
  __HAL_RCC_GPIOB_CLK_ENABLE();
  __HAL_RCC_GPIOC_CLK_ENABLE();

  /*Configure GPIO pin Output Level */
  HAL_GPIO_WritePin(EWDG_GPIO_Port, EWDG_Pin, GPIO_PIN_RESET);

  /*Configure GPIO pin Output Level */
  HAL_GPIO_WritePin(GPIOB, STEPPER_1_Pin|STEPPER_2_Pin|STEPPER_3_Pin|STEPPER_4_Pin
                          |RELAY_Pin, GPIO_PIN_SET);

  /*Configure GPIO pin : EWDG_Pin */
  GPIO_InitStruct.Pin = EWDG_Pin;
  GPIO_InitStruct.Mode = GPIO_MODE_OUTPUT_PP;
  GPIO_InitStruct.Pull = GPIO_NOPULL;
  GPIO_InitStruct.Speed = GPIO_SPEED_FREQ_LOW;
  HAL_GPIO_Init(EWDG_GPIO_Port, &GPIO_InitStruct);

  /*Configure GPIO pins : RUN_Defrost_Pin RUN_Pin */
  GPIO_InitStruct.Pin = RUN_Defrost_Pin|RUN_Pin;
  GPIO_InitStruct.Mode = GPIO_MODE_INPUT;
  GPIO_InitStruct.Pull = GPIO_NOPULL;
  HAL_GPIO_Init(GPIOA, &GPIO_InitStruct);

  /*Configure GPIO pins : STEPPER_1_Pin STEPPER_2_Pin STEPPER_3_Pin STEPPER_4_Pin
                           RELAY_Pin */
  GPIO_InitStruct.Pin = STEPPER_1_Pin|STEPPER_2_Pin|STEPPER_3_Pin|STEPPER_4_Pin
                          |RELAY_Pin;
  GPIO_InitStruct.Mode = GPIO_MODE_OUTPUT_PP;
  GPIO_InitStruct.Pull = GPIO_NOPULL;
  GPIO_InitStruct.Speed = GPIO_SPEED_FREQ_LOW;
  HAL_GPIO_Init(GPIOB, &GPIO_InitStruct);

  /* USER CODE BEGIN MX_GPIO_Init_2 */
  HAL_GPIO_WritePin(GPIOB, STEPPER_1_Pin|STEPPER_2_Pin|STEPPER_3_Pin|STEPPER_4_Pin
                          |RELAY_Pin, GPIO_PIN_SET);
//  HAL_GPIO_WritePin(GPIOB, RELAY_Pin, GPIO_PIN_RESET);
  /* USER CODE END MX_GPIO_Init_2 */
}

/* USER CODE BEGIN 4 */
void HAL_UARTEx_RxEventCallback(UART_HandleTypeDef *huart, uint16_t Size)
{
    if (huart == modbus_slave.huart)
    {
        Modbus_UartRxCpltCallback(&modbus_slave, Size);
    }
}
void HAL_UART_TxCpltCallback(UART_HandleTypeDef *huart)
{
    if (huart == modbus_slave.huart)
    {
    	lastvalidIDTime = HAL_GetTick();
    	Modbus_UartTxCpltCallback(&modbus_slave);
    }
}
void HAL_UART_ErrorCallback(UART_HandleTypeDef *huart)
{
	Modbus_HAL_ErrorCallback(&modbus_slave, &huart1);
}

void HAL_TIM_PeriodElapsedCallback(TIM_HandleTypeDef *htim) {
    if (htim->Instance == TIM2) {
    	count ++;
    	if(count >= 3){
            output_pid = PID_Calculate(&pid, delta_temperatute);
            float step_val = output_pid * 5.0f;
            stepp_count = (int16_t)step_val;
            // Lưu giá trị vào mảng, chỉ mục quay vòng khi đạt BUFFER_SIZE
            stepp_buffer[buffer_index] = stepp_count;
            buffer_index = (buffer_index + 1) % BUFFER_SIZE;
    	    count = 0;
    	}
        Stepper_Run(&motor);
    }
}

/* USER CODE END 4 */

void Error_Handler(void)
{
  __disable_irq();
  while (1)
  {
  }
}
